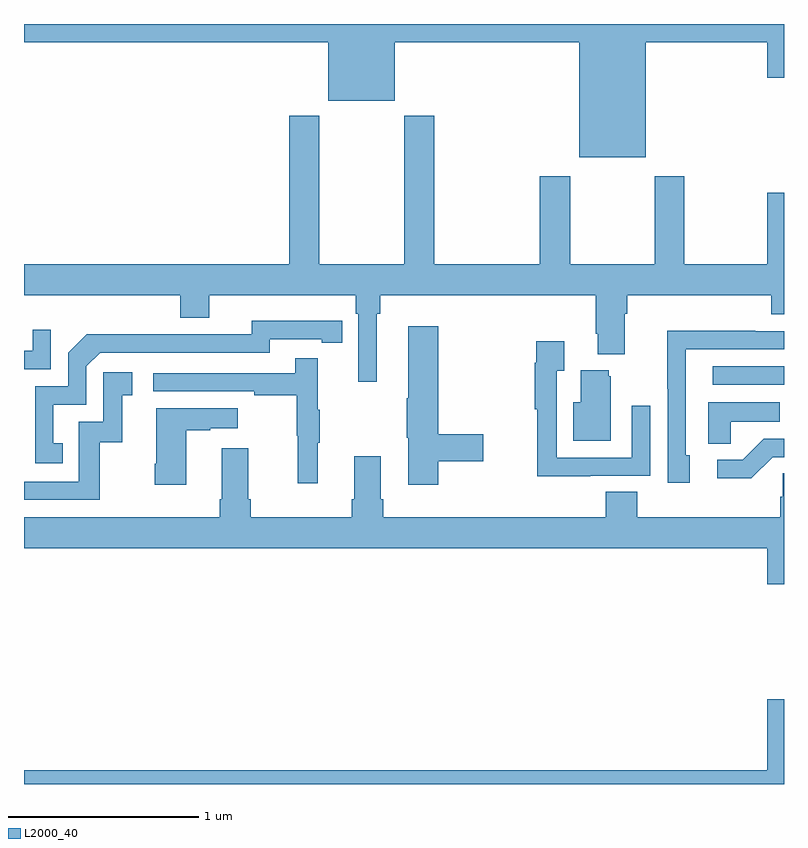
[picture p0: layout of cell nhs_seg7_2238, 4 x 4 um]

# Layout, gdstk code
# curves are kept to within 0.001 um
import gdstk
lib = gdstk.Library(unit=1e-6, precision=1e-09)
def R(c, l, rs):  # rectangles x0, y0, x1, y1
    for r in rs: c.add(gdstk.rectangle(r[:2], r[2:], *l))
def P(c, l, *ps):  # polygons
    for p in ps: c.add(gdstk.Polygon(p, *l))
L2000_40 = (2000, 40)

nhs_seg7_2238 = lib.new_cell('nhs_seg7_2238')
R(nhs_seg7_2238, L2000_40, [(260.625,1044.102,261,1044.198)])
P(nhs_seg7_2238, L2000_40, [(260.272,1045.904),(260.912,1045.904),(260.912,1045.716),(261,1045.716),(261,1046),(257,1046),(257,1045.904),(258.602,1045.904),(258.602,1045.595),(258.952,1045.595),(258.952,1045.904),(259.922,1045.904),(259.922,1045.298),(260.272,1045.298)],
  [(260.009,1044.37),(260.021,1044.37),(260.021,1044.263),(260.161,1044.263),(260.161,1044.476),(260.174,1044.476),(260.174,1044.572),(260.933,1044.572),(260.933,1044.473),(261,1044.473),(261,1045.111),(260.912,1045.111),(260.912,1044.736),(260.475,1044.736),(260.475,1045.198),(260.32,1045.198),(260.32,1044.736),(259.875,1044.736),(259.875,1045.198),(259.715,1045.198),(259.715,1044.736),(259.16,1044.736),(259.16,1045.516),(259,1045.516),(259,1044.736),(258.555,1044.736),(258.555,1045.516),(258.395,1045.516),(258.395,1044.736),(257,1044.736),(257,1044.572),(257.822,1044.572),(257.822,1044.455),(257.974,1044.455),(257.974,1044.572),(258.746,1044.572),(258.746,1044.476),(258.759,1044.476),(258.759,1044.117),(258.856,1044.117),(258.856,1044.476),(258.875,1044.476),(258.875,1044.572),(260.009,1044.572)],
  [(257.204,1043.793),(257.155,1043.793),(257.155,1043.997),(257.328,1043.997),(257.328,1044.198),(257.4,1044.27),(258.294,1044.27),(258.294,1044.342),(258.566,1044.342),(258.566,1044.322),(258.674,1044.322),(258.674,1044.438),(258.198,1044.439),(258.198,1044.366),(257.738,1044.366),(257.738,1044.368),(257.33,1044.368),(257.232,1044.27),(257.232,1044.093),(257.058,1044.093),(257.058,1043.688),(257.204,1043.688)],
  [(259.181,1043.698),(259.416,1043.698),(259.416,1043.84),(259.181,1043.84),(259.181,1044.409),(259.022,1044.409),(259.022,1044.029),(259.015,1044.029),(259.015,1043.823),(259.022,1043.823),(259.022,1043.574),(259.181,1043.574)],
  [(257.142,1044.391),(257.045,1044.391),(257.045,1044.279),(257,1044.279),(257,1044.183),(257.142,1044.183)],
  [(260.503,1043.73),(260.484,1043.73),(260.484,1044.288),(261,1044.288),(261,1044.384),(260.849,1044.384),(260.849,1044.386),(260.386,1044.386),(260.386,1044.079),(260.388,1044.079),(260.388,1043.586),(260.503,1043.586)],
  [(259.979,1043.622),(260.295,1043.622),(260.295,1043.992),(260.199,1043.992),(260.199,1043.718),(259.803,1043.718),(259.803,1044.175),(259.843,1044.175),(259.843,1044.331),(259.695,1044.331),(259.695,1044.218),(259.687,1044.218),(259.687,1043.972),(259.702,1043.972),(259.702,1043.621),(259.979,1043.621)],
  [(258.545,1043.795),(258.556,1043.795),(258.556,1043.969),(258.545,1043.969),(258.545,1044.241),(258.427,1044.241),(258.427,1044.162),(257.679,1044.162),(257.679,1044.066),(258.211,1044.066),(258.211,1044.046),(258.435,1044.046),(258.435,1043.832),(258.442,1043.832),(258.442,1043.583),(258.545,1043.583)],
  [(260.089,1044.147),(260.078,1044.147),(260.078,1044.178),(259.931,1044.178),(259.931,1044.01),(259.892,1044.01),(259.892,1043.807),(260.089,1043.807)],
  [(257.398,1043.799),(257.516,1043.799),(257.516,1044.045),(257.569,1044.045),(257.569,1044.166),(257.418,1044.166),(257.418,1043.907),(257.289,1043.907),(257.289,1043.592),(257,1043.592),(257,1043.496),(257.398,1043.496)],
  [(260.721,1043.906),(260.978,1043.906),(260.978,1044.01),(260.6,1044.01),(260.6,1043.791),(260.721,1043.791)],
  [(257.854,1043.863),(257.981,1043.863),(257.981,1043.873),(258.124,1043.873),(258.124,1043.977),(257.696,1043.977),(257.696,1043.686),(257.689,1043.686),(257.689,1043.574),(257.854,1043.574)],
  [(260.94,1043.721),(261,1043.721),(261,1043.817),(260.894,1043.817),(260.783,1043.706),(260.649,1043.706),(260.649,1043.609),(260.827,1043.609)],
  [(261,1043.636),(260.994,1043.636),(260.994,1043.513),(260.981,1043.513),(260.981,1043.404),(260.228,1043.404),(260.228,1043.537),(260.063,1043.537),(260.063,1043.404),(258.89,1043.404),(258.89,1043.5),(258.877,1043.5),(258.877,1043.725),(258.737,1043.725),(258.737,1043.5),(258.725,1043.5),(258.725,1043.404),(258.194,1043.404),(258.194,1043.5),(258.181,1043.5),(258.181,1043.767),(258.041,1043.767),(258.041,1043.5),(258.029,1043.5),(258.029,1043.404),(257,1043.404),(257,1043.24),(260.912,1043.24),(260.912,1043.052),(261,1043.052)],
  [(261,1042.447),(260.912,1042.447),(260.912,1042.072),(257,1042.072),(257,1042),(261,1042)])

lib.write_gds('nhs_seg7_2238.gds')
